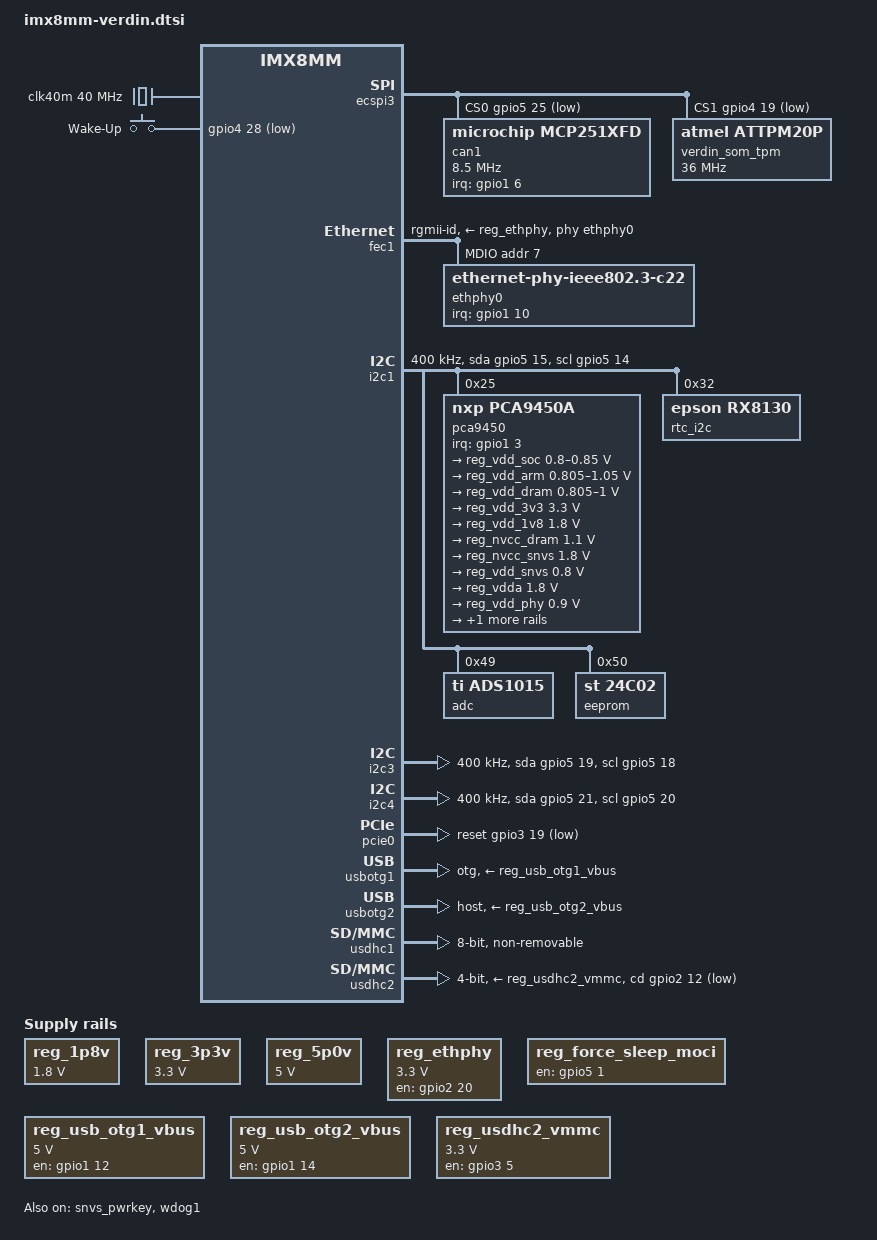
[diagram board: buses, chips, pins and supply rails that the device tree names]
// SPDX-License-Identifier: GPL-2.0-or-later OR MIT
/*
 * Copyright 2022 Toradex
 */

#include <dt-bindings/phy/phy-imx8-pcie.h>
#include <dt-bindings/pwm/pwm.h>
#include "imx8mm.dtsi"
#include "imx8mm-overdrive.dtsi"

/ {
	chosen {
		stdout-path = &uart1;
	};

	aliases {
		rtc0 = &rtc_i2c;
		rtc1 = &snvs_rtc;
	};

	backlight: backlight {
		compatible = "pwm-backlight";
		brightness-levels = <0 45 63 88 119 158 203 255>;
		default-brightness-level = <4>;
		/* Verdin I2S_2_D_OUT (DSI_1_BKL_EN/DSI_1_BKL_EN_LVDS, SODIMM 46) */
		enable-gpios = <&gpio3 24 GPIO_ACTIVE_HIGH>;
		pinctrl-names = "default";
		pinctrl-0 = <&pinctrl_i2s_2_d_out_dsi_1_bkl_en>;
		power-supply = <&reg_3p3v>;
		/* Verdin PWM_3_DSI/PWM_3_DSI_LVDS (SODIMM 19) */
		pwms = <&pwm1 0 6666667 PWM_POLARITY_INVERTED>;
		status = "disabled";
	};

	/* Fixed clock dedicated to SPI CAN controller */
	clk40m: oscillator {
		compatible = "fixed-clock";
		#clock-cells = <0>;
		clock-frequency = <40000000>;
	};

	gpio-keys {
		compatible = "gpio-keys";
		pinctrl-names = "default";
		pinctrl-0 = <&pinctrl_gpio_keys>;

		key-wakeup {
			debounce-interval = <10>;
			/* Verdin CTRL_WAKE1_MICO# (SODIMM 252) */
			gpios = <&gpio4 28 GPIO_ACTIVE_LOW>;
			label = "Wake-Up";
			linux,code = <KEY_WAKEUP>;
			wakeup-source;
		};
	};

	hdmi_connector: hdmi-connector {
		compatible = "hdmi-connector";
		ddc-i2c-bus = <&i2c2>;
		/* Verdin PWM_3_DSI (SODIMM 19) */
		hpd-gpios = <&gpio1 1 GPIO_ACTIVE_HIGH>;
		label = "hdmi";
		pinctrl-names = "default";
		pinctrl-0 = <&pinctrl_pwm_3_dsi_hpd_gpio>;
		type = "a";
		status = "disabled";
	};

	panel_lvds: panel-lvds {
		compatible = "panel-lvds";
		backlight = <&backlight>;
		data-mapping = "vesa-24";
		status = "disabled";
	};

	/* Carrier Board Supplies */
	reg_1p8v: regulator-1p8v {
		compatible = "regulator-fixed";
		regulator-max-microvolt = <1800000>;
		regulator-min-microvolt = <1800000>;
		regulator-name = "+V1.8_SW";
	};

	reg_3p3v: regulator-3p3v {
		compatible = "regulator-fixed";
		regulator-max-microvolt = <3300000>;
		regulator-min-microvolt = <3300000>;
		regulator-name = "+V3.3_SW";
	};

	reg_5p0v: regulator-5p0v {
		compatible = "regulator-fixed";
		regulator-max-microvolt = <5000000>;
		regulator-min-microvolt = <5000000>;
		regulator-name = "+V5_SW";
	};

	/* Non PMIC On-module Supplies */
	reg_ethphy: regulator-ethphy {
		compatible = "regulator-fixed";
		enable-active-high;
		gpio = <&gpio2 20 GPIO_ACTIVE_HIGH>; /* PMIC_EN_ETH */
		off-on-delay-us = <500000>;
		pinctrl-names = "default";
		pinctrl-0 = <&pinctrl_reg_eth>;
		regulator-always-on;
		regulator-boot-on;
		regulator-max-microvolt = <3300000>;
		regulator-min-microvolt = <3300000>;
		regulator-name = "On-module +V3.3_ETH";
		startup-delay-us = <200000>;
	};

	/*
	 * By default we enable CTRL_SLEEP_MOCI#, this is required to have
	 * peripherals on the carrier board powered.
	 * If more granularity or power saving is required this can be disabled
	 * in the carrier board device tree files.
	 */
	reg_force_sleep_moci: regulator-force-sleep-moci {
		compatible = "regulator-fixed";
		enable-active-high;
		/* Verdin CTRL_SLEEP_MOCI# (SODIMM 256) */
		gpio = <&gpio5 1 GPIO_ACTIVE_HIGH>;
		regulator-always-on;
		regulator-boot-on;
		regulator-name = "CTRL_SLEEP_MOCI#";
	};

	reg_usb_otg1_vbus: regulator-usb-otg1 {
		compatible = "regulator-fixed";
		enable-active-high;
		/* Verdin USB_1_EN (SODIMM 155) */
		gpio = <&gpio1 12 GPIO_ACTIVE_HIGH>;
		pinctrl-names = "default";
		pinctrl-0 = <&pinctrl_reg_usb1_en>;
		regulator-max-microvolt = <5000000>;
		regulator-min-microvolt = <5000000>;
		regulator-name = "USB_1_EN";
	};

	reg_usb_otg2_vbus: regulator-usb-otg2 {
		compatible = "regulator-fixed";
		enable-active-high;
		/* Verdin USB_2_EN (SODIMM 185) */
		gpio = <&gpio1 14 GPIO_ACTIVE_HIGH>;
		pinctrl-names = "default";
		pinctrl-0 = <&pinctrl_reg_usb2_en>;
		regulator-max-microvolt = <5000000>;
		regulator-min-microvolt = <5000000>;
		regulator-name = "USB_2_EN";
	};

	reg_usdhc2_vmmc: regulator-usdhc2 {
		compatible = "regulator-fixed";
		enable-active-high;
		/* Verdin SD_1_PWR_EN (SODIMM 76) */
		gpio = <&gpio3 5 GPIO_ACTIVE_HIGH>;
		off-on-delay-us = <100000>;
		pinctrl-names = "default";
		pinctrl-0 = <&pinctrl_usdhc2_pwr_en>;
		regulator-max-microvolt = <3300000>;
		regulator-min-microvolt = <3300000>;
		regulator-name = "+V3.3_SD";
		startup-delay-us = <20000>;
	};

	reserved-memory {
		#address-cells = <2>;
		#size-cells = <2>;
		ranges;

		/* Use the kernel configuration settings instead */
		/delete-node/ linux,cma;
	};
};

&A53_0 {
	cpu-supply = <&reg_vdd_arm>;
};

&A53_1 {
	cpu-supply = <&reg_vdd_arm>;
};

&A53_2 {
	cpu-supply = <&reg_vdd_arm>;
};

&A53_3 {
	cpu-supply = <&reg_vdd_arm>;
};

&cpu_alert0 {
	temperature = <95000>;
};

&cpu_crit0 {
	temperature = <105000>;
};

&ddrc {
	operating-points-v2 = <&ddrc_opp_table>;

	ddrc_opp_table: opp-table {
		compatible = "operating-points-v2";

		opp-25000000 {
			opp-hz = /bits/ 64 <25000000>;
		};

		opp-100000000 {
			opp-hz = /bits/ 64 <100000000>;
		};

		opp-750000000 {
			opp-hz = /bits/ 64 <750000000>;
		};
	};
};

/* Verdin SPI_1 */
&ecspi2 {
	#address-cells = <1>;
	#size-cells = <0>;
	cs-gpios = <&gpio5 13 GPIO_ACTIVE_LOW>;
	pinctrl-names = "default";
	pinctrl-0 = <&pinctrl_ecspi2>;
};

/* On-module SPI */
&ecspi3 {
	#address-cells = <1>;
	#size-cells = <0>;
	cs-gpios = <&gpio5 25 GPIO_ACTIVE_LOW>, <&gpio4 19 GPIO_ACTIVE_LOW>;
	pinctrl-names = "default";
	pinctrl-0 = <&pinctrl_ecspi3>, <&pinctrl_tpm_spi_cs>;
	status = "okay";

	/* Verdin CAN_1 */
	can1: can@0 {
		compatible = "microchip,mcp251xfd";
		clocks = <&clk40m>;
		interrupts-extended = <&gpio1 6 IRQ_TYPE_LEVEL_LOW>;
		pinctrl-names = "default";
		pinctrl-0 = <&pinctrl_can1_int>;
		reg = <0>;
		spi-max-frequency = <8500000>;
	};

	verdin_som_tpm: tpm@1 {
		compatible = "atmel,attpm20p", "tcg,tpm_tis-spi";
		reg = <0x1>;
		spi-max-frequency = <36000000>;
	};
};

/* Verdin ETH_1 (On-module PHY) */
&fec1 {
	fsl,magic-packet;
	phy-handle = <&ethphy0>;
	phy-mode = "rgmii-id";
	phy-supply = <&reg_ethphy>;
	pinctrl-names = "default", "sleep";
	pinctrl-0 = <&pinctrl_fec1>;
	pinctrl-1 = <&pinctrl_fec1_sleep>;

	mdio {
		#address-cells = <1>;
		#size-cells = <0>;

		ethphy0: ethernet-phy@7 {
			compatible = "ethernet-phy-ieee802.3-c22";
			interrupt-parent = <&gpio1>;
			interrupts = <10 IRQ_TYPE_LEVEL_LOW>;
			micrel,led-mode = <0>;
			reg = <7>;
		};
	};
};

/* Verdin QSPI_1 */
&flexspi {
	pinctrl-names = "default";
	pinctrl-0 = <&pinctrl_flexspi0>;
};

&gpio1 {
	gpio-line-names = "SODIMM_216",
			  "SODIMM_19",
			  "",
			  "",
			  "",
			  "",
			  "",
			  "",
			  "SODIMM_220",
			  "SODIMM_222",
			  "",
			  "SODIMM_218",
			  "SODIMM_155",
			  "SODIMM_157",
			  "SODIMM_185",
			  "SODIMM_187";
};

&gpio2 {
	gpio-line-names = "",
			  "",
			  "",
			  "",
			  "",
			  "",
			  "",
			  "",
			  "",
			  "",
			  "",
			  "",
			  "SODIMM_84",
			  "SODIMM_78",
			  "SODIMM_74",
			  "SODIMM_80",
			  "SODIMM_82",
			  "SODIMM_70",
			  "SODIMM_72";
};

&gpio5 {
	gpio-line-names = "SODIMM_131",
			  "",
			  "SODIMM_91",
			  "SODIMM_16",
			  "SODIMM_15",
			  "SODIMM_208",
			  "SODIMM_137",
			  "SODIMM_139",
			  "SODIMM_141",
			  "SODIMM_143",
			  "SODIMM_196",
			  "SODIMM_200",
			  "SODIMM_198",
			  "SODIMM_202",
			  "",
			  "",
			  "SODIMM_55",
			  "SODIMM_53",
			  "SODIMM_95",
			  "SODIMM_93",
			  "SODIMM_14",
			  "SODIMM_12",
			  "",
			  "",
			  "",
			  "",
			  "SODIMM_210",
			  "SODIMM_212",
			  "SODIMM_151",
			  "SODIMM_153";
};

/* On-module I2C */
&i2c1 {
	clock-frequency = <400000>;
	pinctrl-names = "default", "gpio";
	pinctrl-0 = <&pinctrl_i2c1>;
	pinctrl-1 = <&pinctrl_i2c1_gpio>;
	scl-gpios = <&gpio5 14 (GPIO_ACTIVE_HIGH | GPIO_OPEN_DRAIN)>;
	sda-gpios = <&gpio5 15 (GPIO_ACTIVE_HIGH | GPIO_OPEN_DRAIN)>;
	status = "okay";

	pca9450: pmic@25 {
		compatible = "nxp,pca9450a";
		interrupt-parent = <&gpio1>;
		/* PMIC PCA9450 PMIC_nINT GPIO1_IO3 */
		interrupts = <3 IRQ_TYPE_LEVEL_LOW>;
		pinctrl-names = "default";
		pinctrl-0 = <&pinctrl_pmic>;
		reg = <0x25>;

		/*
		 * The bootloader is expected to switch on the I2C level shifter for the TLA2024 ADC
		 * behind this PMIC.
		 */

		regulators {
			reg_vdd_soc: BUCK1 {
				nxp,dvs-run-voltage = <850000>;
				nxp,dvs-standby-voltage = <800000>;
				regulator-always-on;
				regulator-boot-on;
				regulator-max-microvolt = <850000>;
				regulator-min-microvolt = <800000>;
				regulator-name = "On-module +VDD_SOC (BUCK1)";
				regulator-ramp-delay = <3125>;
			};

			reg_vdd_arm: BUCK2 {
				nxp,dvs-run-voltage = <950000>;
				nxp,dvs-standby-voltage = <850000>;
				regulator-always-on;
				regulator-boot-on;
				regulator-max-microvolt = <1050000>;
				regulator-min-microvolt = <805000>;
				regulator-name = "On-module +VDD_ARM (BUCK2)";
				regulator-ramp-delay = <3125>;
			};

			reg_vdd_dram: BUCK3 {
				regulator-always-on;
				regulator-boot-on;
				regulator-max-microvolt = <1000000>;
				regulator-min-microvolt = <805000>;
				regulator-name = "On-module +VDD_GPU_VPU_DDR (BUCK3)";
			};

			reg_vdd_3v3: BUCK4 {
				regulator-always-on;
				regulator-boot-on;
				regulator-max-microvolt = <3300000>;
				regulator-min-microvolt = <3300000>;
				regulator-name = "On-module +V3.3 (BUCK4)";
			};

			reg_vdd_1v8: BUCK5 {
				regulator-always-on;
				regulator-boot-on;
				regulator-max-microvolt = <1800000>;
				regulator-min-microvolt = <1800000>;
				regulator-name = "PWR_1V8_MOCI (BUCK5)";
			};

			reg_nvcc_dram: BUCK6 {
				regulator-always-on;
				regulator-boot-on;
				regulator-max-microvolt = <1100000>;
				regulator-min-microvolt = <1100000>;
				regulator-name = "On-module +VDD_DDR (BUCK6)";
			};

			reg_nvcc_snvs: LDO1 {
				regulator-always-on;
				regulator-boot-on;
				regulator-max-microvolt = <1800000>;
				regulator-min-microvolt = <1800000>;
				regulator-name = "On-module +V1.8_SNVS (LDO1)";
			};

			reg_vdd_snvs: LDO2 {
				regulator-always-on;
				regulator-boot-on;
				regulator-max-microvolt = <800000>;
				regulator-min-microvolt = <800000>;
				regulator-name = "On-module +V0.8_SNVS (LDO2)";
			};

			reg_vdda: LDO3 {
				regulator-always-on;
				regulator-boot-on;
				regulator-max-microvolt = <1800000>;
				regulator-min-microvolt = <1800000>;
				regulator-name = "On-module +V1.8A (LDO3)";
			};

			reg_vdd_phy: LDO4 {
				regulator-always-on;
				regulator-boot-on;
				regulator-max-microvolt = <900000>;
				regulator-min-microvolt = <900000>;
				regulator-name = "On-module +V0.9_MIPI (LDO4)";
			};

			reg_nvcc_sd: LDO5 {
				regulator-max-microvolt = <3300000>;
				regulator-min-microvolt = <1800000>;
				regulator-name = "On-module +V3.3_1.8_SD (LDO5)";
			};
		};
	};

	rtc_i2c: rtc@32 {
		compatible = "epson,rx8130";
		reg = <0x32>;
	};

	adc@49 {
		compatible = "ti,ads1015";
		reg = <0x49>;
		#address-cells = <1>;
		#size-cells = <0>;

		/* Verdin I2C_1 (ADC_4 - ADC_3) */
		channel@0 {
			reg = <0>;
			ti,datarate = <4>;
			ti,gain = <2>;
		};

		/* Verdin I2C_1 (ADC_4 - ADC_1) */
		channel@1 {
			reg = <1>;
			ti,datarate = <4>;
			ti,gain = <2>;
		};

		/* Verdin I2C_1 (ADC_3 - ADC_1) */
		channel@2 {
			reg = <2>;
			ti,datarate = <4>;
			ti,gain = <2>;
		};

		/* Verdin I2C_1 (ADC_2 - ADC_1) */
		channel@3 {
			reg = <3>;
			ti,datarate = <4>;
			ti,gain = <2>;
		};

		/* Verdin I2C_1 ADC_4 */
		channel@4 {
			reg = <4>;
			ti,datarate = <4>;
			ti,gain = <2>;
		};

		/* Verdin I2C_1 ADC_3 */
		channel@5 {
			reg = <5>;
			ti,datarate = <4>;
			ti,gain = <2>;
		};

		/* Verdin I2C_1 ADC_2 */
		channel@6 {
			reg = <6>;
			ti,datarate = <4>;
			ti,gain = <2>;
		};

		/* Verdin I2C_1 ADC_1 */
		channel@7 {
			reg = <7>;
			ti,datarate = <4>;
			ti,gain = <2>;
		};
	};

	eeprom@50 {
		compatible = "st,24c02";
		pagesize = <16>;
		reg = <0x50>;
	};
};

/* Verdin I2C_2_DSI */
&i2c2 {
	clock-frequency = <400000>;
	pinctrl-names = "default", "gpio";
	pinctrl-0 = <&pinctrl_i2c2>;
	pinctrl-1 = <&pinctrl_i2c2_gpio>;
	scl-gpios = <&gpio5 16 (GPIO_ACTIVE_HIGH | GPIO_OPEN_DRAIN)>;
	sda-gpios = <&gpio5 17 (GPIO_ACTIVE_HIGH | GPIO_OPEN_DRAIN)>;
	status = "disabled";
};

/* Verdin I2C_3_HDMI N/A */

/* Verdin I2C_4_CSI */
&i2c3 {
	clock-frequency = <400000>;
	pinctrl-names = "default", "gpio";
	pinctrl-0 = <&pinctrl_i2c3>;
	pinctrl-1 = <&pinctrl_i2c3_gpio>;
	scl-gpios = <&gpio5 18 (GPIO_ACTIVE_HIGH | GPIO_OPEN_DRAIN)>;
	sda-gpios = <&gpio5 19 (GPIO_ACTIVE_HIGH | GPIO_OPEN_DRAIN)>;
};

/* Verdin I2C_1 */
&i2c4 {
	clock-frequency = <400000>;
	pinctrl-names = "default", "gpio";
	pinctrl-0 = <&pinctrl_i2c4>;
	pinctrl-1 = <&pinctrl_i2c4_gpio>;
	scl-gpios = <&gpio5 20 (GPIO_ACTIVE_HIGH | GPIO_OPEN_DRAIN)>;
	sda-gpios = <&gpio5 21 (GPIO_ACTIVE_HIGH | GPIO_OPEN_DRAIN)>;

	gpio_expander_21: gpio-expander@21 {
		compatible = "nxp,pcal6416";
		#gpio-cells = <2>;
		gpio-controller;
		reg = <0x21>;
		vcc-supply = <&reg_3p3v>;
		status = "disabled";
	};

	lvds_ti_sn65dsi84: bridge@2c {
		compatible = "ti,sn65dsi84";
		/* Verdin GPIO_9_DSI (SN65DSI84 IRQ, SODIMM 17, unused) */
		/* Verdin GPIO_10_DSI (SODIMM 21) */
		enable-gpios = <&gpio3 3 GPIO_ACTIVE_HIGH>;
		pinctrl-names = "default";
		pinctrl-0 = <&pinctrl_gpio_10_dsi>;
		reg = <0x2c>;
		status = "disabled";
	};

	/* Current measurement into module VCC */
	hwmon: hwmon@40 {
		compatible = "ti,ina219";
		reg = <0x40>;
		shunt-resistor = <10000>;
		status = "disabled";
	};

	hdmi_lontium_lt8912: hdmi@48 {
		compatible = "lontium,lt8912b";
		pinctrl-names = "default";
		pinctrl-0 = <&pinctrl_gpio_10_dsi>;
		reg = <0x48>;
		/* Verdin GPIO_9_DSI (LT8912 INT, SODIMM 17, unused) */
		/* Verdin GPIO_10_DSI (SODIMM 21) */
		reset-gpios = <&gpio3 3 GPIO_ACTIVE_LOW>;
		status = "disabled";
	};

	atmel_mxt_ts: touch@4a {
		compatible = "atmel,maxtouch";
		/*
		 * Verdin GPIO_9_DSI
		 * (TOUCH_INT#, SODIMM 17, also routed to SN65DSI84 IRQ albeit currently unused)
		 */
		interrupt-parent = <&gpio3>;
		interrupts = <15 IRQ_TYPE_EDGE_FALLING>;
		pinctrl-names = "default";
		pinctrl-0 = <&pinctrl_gpio_9_dsi>, <&pinctrl_i2s_2_bclk_touch_reset>;
		reg = <0x4a>;
		/* Verdin I2S_2_BCLK (TOUCH_RESET#, SODIMM 42) */
		reset-gpios = <&gpio3 23 GPIO_ACTIVE_LOW>;
		status = "disabled";
	};

	/* Temperature sensor on carrier board */
	hwmon_temp: sensor@4f {
		compatible = "ti,tmp75c";
		reg = <0x4f>;
		status = "disabled";
	};

	/* EEPROM on display adapter (MIPI DSI Display Adapter) */
	eeprom_display_adapter: eeprom@50 {
		compatible = "st,24c02";
		pagesize = <16>;
		reg = <0x50>;
		status = "disabled";
	};

	/* EEPROM on carrier board */
	eeprom_carrier_board: eeprom@57 {
		compatible = "st,24c02";
		pagesize = <16>;
		reg = <0x57>;
		status = "disabled";
	};
};

/* Verdin PCIE_1 */
&pcie0 {
	assigned-clocks = <&clk IMX8MM_CLK_PCIE1_AUX>,
			  <&clk IMX8MM_CLK_PCIE1_CTRL>;
	assigned-clock-parents = <&clk IMX8MM_SYS_PLL2_50M>,
				 <&clk IMX8MM_SYS_PLL2_250M>;
	assigned-clock-rates = <10000000>, <250000000>;
	pinctrl-names = "default";
	pinctrl-0 = <&pinctrl_pcie0>;
	/* PCIE_1_RESET# (SODIMM 244) */
	reset-gpio = <&gpio3 19 GPIO_ACTIVE_LOW>;
};

&pcie_phy {
	clocks = <&clk IMX8MM_CLK_PCIE1_PHY>;
	clock-names = "ref";
	fsl,clkreq-unsupported;
	fsl,refclk-pad-mode = <IMX8_PCIE_REFCLK_PAD_OUTPUT>;
	fsl,tx-deemph-gen1 = <0x2d>;
	fsl,tx-deemph-gen2 = <0xf>;
};

/* Verdin PWM_3_DSI */
&pwm1 {
	pinctrl-names = "default";
	pinctrl-0 = <&pinctrl_pwm_1>;
	#pwm-cells = <3>;
};

/* Verdin PWM_1 */
&pwm2 {
	pinctrl-names = "default";
	pinctrl-0 = <&pinctrl_pwm_2>;
	#pwm-cells = <3>;
};

/* Verdin PWM_2 */
&pwm3 {
	pinctrl-names = "default";
	pinctrl-0 = <&pinctrl_pwm_3>;
	#pwm-cells = <3>;
};

/* Verdin I2S_1 */
&sai2 {
	#sound-dai-cells = <0>;
	assigned-clock-parents = <&clk IMX8MM_AUDIO_PLL1_OUT>;
	assigned-clock-rates = <24576000>;
	assigned-clocks = <&clk IMX8MM_CLK_SAI2>;
	pinctrl-names = "default";
	pinctrl-0 = <&pinctrl_sai2>;
};

&snvs_pwrkey {
	status = "okay";
};

/* Verdin UART_3, used as the Linux console */
&uart1 {
	pinctrl-names = "default";
	pinctrl-0 = <&pinctrl_uart1>;
};

/* Verdin UART_1 */
&uart2 {
	pinctrl-names = "default";
	pinctrl-0 = <&pinctrl_uart2>;
	uart-has-rtscts;
};

/* Verdin UART_2 */
&uart3 {
	pinctrl-names = "default";
	pinctrl-0 = <&pinctrl_uart3>;
	uart-has-rtscts;
};

/*
 * Verdin UART_4
 * Resource allocated to M4 by default, must not be accessed from Cortex-A35 or you get an OOPS
 */
&uart4 {
	pinctrl-names = "default";
	pinctrl-0 = <&pinctrl_uart4>;
};

/* Verdin USB_1 */
&usbotg1 {
	adp-disable;
	dr_mode = "otg";
	hnp-disable;
	samsung,picophy-dc-vol-level-adjust = <7>;
	samsung,picophy-pre-emp-curr-control = <3>;
	srp-disable;
	vbus-supply = <&reg_usb_otg1_vbus>;
};

/* Verdin USB_2 */
&usbotg2 {
	dr_mode = "host";
	samsung,picophy-dc-vol-level-adjust = <7>;
	samsung,picophy-pre-emp-curr-control = <3>;
	vbus-supply = <&reg_usb_otg2_vbus>;
};

&usbphynop1 {
	vcc-supply = <&reg_vdd_3v3>;
};

&usbphynop2 {
	power-domains = <&pgc_otg2>;
	vcc-supply = <&reg_vdd_3v3>;
};

/* On-module eMMC */
&usdhc1 {
	bus-width = <8>;
	keep-power-in-suspend;
	non-removable;
	pinctrl-names = "default", "state_100mhz", "state_200mhz";
	pinctrl-0 = <&pinctrl_usdhc1>;
	pinctrl-1 = <&pinctrl_usdhc1_100mhz>;
	pinctrl-2 = <&pinctrl_usdhc1_200mhz>;
	status = "okay";
};

/* Verdin SD_1 */
&usdhc2 {
	bus-width = <4>;
	cd-gpios = <&gpio2 12 GPIO_ACTIVE_LOW>;
	disable-wp;
	pinctrl-names = "default", "state_100mhz", "state_200mhz", "sleep";
	pinctrl-0 = <&pinctrl_usdhc2>, <&pinctrl_usdhc2_cd>;
	pinctrl-1 = <&pinctrl_usdhc2_100mhz>, <&pinctrl_usdhc2_cd>;
	pinctrl-2 = <&pinctrl_usdhc2_200mhz>, <&pinctrl_usdhc2_cd>;
	pinctrl-3 = <&pinctrl_usdhc2_sleep>, <&pinctrl_usdhc2_cd_sleep>;
	vmmc-supply = <&reg_usdhc2_vmmc>;
};

&wdog1 {
	fsl,ext-reset-output;
	pinctrl-names = "default";
	pinctrl-0 = <&pinctrl_wdog>;
	status = "okay";
};

&iomuxc {
	pinctrl-names = "default";
	pinctrl-0 = <&pinctrl_gpio1>, <&pinctrl_gpio2>,
		    <&pinctrl_gpio3>, <&pinctrl_gpio4>,
		    <&pinctrl_gpio7>, <&pinctrl_gpio8>,
		    <&pinctrl_gpio_hog1>, <&pinctrl_gpio_hog2>, <&pinctrl_gpio_hog3>;

	pinctrl_can1_int: can1intgrp {
		fsl,pins =
			<MX8MM_IOMUXC_GPIO1_IO06_GPIO1_IO6		0x146>;	/* CAN_1_SPI_INT#_1.8V */
	};

	pinctrl_can2_int: can2intgrp {
		fsl,pins =
			<MX8MM_IOMUXC_GPIO1_IO07_GPIO1_IO7		0x106>;	/* CAN_2_SPI_INT#_1.8V, unused */
	};

	pinctrl_ctrl_sleep_moci: ctrlsleepmocigrp {
		fsl,pins =
			<MX8MM_IOMUXC_SAI3_TXD_GPIO5_IO1		0x106>;	/* SODIMM 256 */
	};

	pinctrl_ecspi2: ecspi2grp {
		fsl,pins =
			<MX8MM_IOMUXC_ECSPI2_MISO_ECSPI2_MISO		0x6>,	/* SODIMM 198 */
			<MX8MM_IOMUXC_ECSPI2_MOSI_ECSPI2_MOSI		0x6>,	/* SODIMM 200 */
			<MX8MM_IOMUXC_ECSPI2_SCLK_ECSPI2_SCLK		0x6>,	/* SODIMM 196 */
			<MX8MM_IOMUXC_ECSPI2_SS0_GPIO5_IO13		0x6>;	/* SODIMM 202 */
	};

	pinctrl_ecspi3: ecspi3grp {
		fsl,pins =
			<MX8MM_IOMUXC_GPIO1_IO05_GPIO1_IO5		0x146>,	/* CAN_2_SPI_CS#_1.8V */
			<MX8MM_IOMUXC_UART1_RXD_ECSPI3_SCLK		0x6>,	/* CAN_SPI_SCK_1.8V */
			<MX8MM_IOMUXC_UART1_TXD_ECSPI3_MOSI		0x6>,	/* CAN_SPI_MOSI_1.8V */
			<MX8MM_IOMUXC_UART2_RXD_ECSPI3_MISO		0x6>,	/* CAN_SPI_MISO_1.8V */
			<MX8MM_IOMUXC_UART2_TXD_GPIO5_IO25		0x6>;	/* CAN_1_SPI_CS_1.8V# */
	};

	pinctrl_fec1: fec1grp {
		fsl,pins =
			<MX8MM_IOMUXC_ENET_MDC_ENET1_MDC		0x3>,
			<MX8MM_IOMUXC_ENET_MDIO_ENET1_MDIO		0x3>,
			<MX8MM_IOMUXC_ENET_RD0_ENET1_RGMII_RD0		0x91>,
			<MX8MM_IOMUXC_ENET_RD1_ENET1_RGMII_RD1		0x91>,
			<MX8MM_IOMUXC_ENET_RD2_ENET1_RGMII_RD2		0x91>,
			<MX8MM_IOMUXC_ENET_RD3_ENET1_RGMII_RD3		0x91>,
			<MX8MM_IOMUXC_ENET_RXC_ENET1_RGMII_RXC		0x91>,
			<MX8MM_IOMUXC_ENET_RX_CTL_ENET1_RGMII_RX_CTL	0x91>,
			<MX8MM_IOMUXC_ENET_TD0_ENET1_RGMII_TD0		0x1f>,
			<MX8MM_IOMUXC_ENET_TD1_ENET1_RGMII_TD1		0x1f>,
			<MX8MM_IOMUXC_ENET_TD2_ENET1_RGMII_TD2		0x1f>,
			<MX8MM_IOMUXC_ENET_TD3_ENET1_RGMII_TD3		0x1f>,
			<MX8MM_IOMUXC_ENET_TXC_ENET1_RGMII_TXC		0x1f>,
			<MX8MM_IOMUXC_ENET_TX_CTL_ENET1_RGMII_TX_CTL	0x1f>,
			<MX8MM_IOMUXC_GPIO1_IO10_GPIO1_IO10		0x146>;
	};

	pinctrl_fec1_sleep: fec1-sleepgrp {
		fsl,pins =
			<MX8MM_IOMUXC_ENET_MDC_ENET1_MDC		0x3>,
			<MX8MM_IOMUXC_ENET_MDIO_ENET1_MDIO		0x3>,
			<MX8MM_IOMUXC_ENET_RD0_ENET1_RGMII_RD0		0x91>,
			<MX8MM_IOMUXC_ENET_RD1_ENET1_RGMII_RD1		0x91>,
			<MX8MM_IOMUXC_ENET_RD2_ENET1_RGMII_RD2		0x91>,
			<MX8MM_IOMUXC_ENET_RD3_ENET1_RGMII_RD3		0x91>,
			<MX8MM_IOMUXC_ENET_RXC_ENET1_RGMII_RXC		0x91>,
			<MX8MM_IOMUXC_ENET_RX_CTL_ENET1_RGMII_RX_CTL	0x91>,
			<MX8MM_IOMUXC_ENET_TD0_GPIO1_IO21		0x1f>,
			<MX8MM_IOMUXC_ENET_TD1_GPIO1_IO20		0x1f>,
			<MX8MM_IOMUXC_ENET_TD2_GPIO1_IO19		0x1f>,
			<MX8MM_IOMUXC_ENET_TD3_GPIO1_IO18		0x1f>,
			<MX8MM_IOMUXC_ENET_TXC_GPIO1_IO23		0x1f>,
			<MX8MM_IOMUXC_ENET_TX_CTL_GPIO1_IO22		0x1f>,
			<MX8MM_IOMUXC_GPIO1_IO10_GPIO1_IO10		0x106>;
	};

	pinctrl_flexspi0: flexspi0grp {
		fsl,pins =
			<MX8MM_IOMUXC_NAND_ALE_QSPI_A_SCLK		0x106>,	/* SODIMM 52 */
			<MX8MM_IOMUXC_NAND_CE0_B_QSPI_A_SS0_B		0x106>,	/* SODIMM 54 */
			<MX8MM_IOMUXC_NAND_CE1_B_QSPI_A_SS1_B		0x106>,	/* SODIMM 64 */
			<MX8MM_IOMUXC_NAND_DATA00_QSPI_A_DATA0		0x106>,	/* SODIMM 56 */
			<MX8MM_IOMUXC_NAND_DATA01_QSPI_A_DATA1		0x106>,	/* SODIMM 58 */
			<MX8MM_IOMUXC_NAND_DATA02_QSPI_A_DATA2		0x106>,	/* SODIMM 60 */
			<MX8MM_IOMUXC_NAND_DATA03_QSPI_A_DATA3		0x106>,	/* SODIMM 62 */
			<MX8MM_IOMUXC_NAND_DQS_QSPI_A_DQS		0x106>;	/* SODIMM 66 */
	};

	pinctrl_gpio1: gpio1grp {
		fsl,pins =
			<MX8MM_IOMUXC_NAND_CE3_B_GPIO3_IO4		0x106>;	/* SODIMM 206 */
	};

	pinctrl_gpio2: gpio2grp {
		fsl,pins =
			<MX8MM_IOMUXC_SPDIF_EXT_CLK_GPIO5_IO5		0x106>;	/* SODIMM 208 */
	};

	pinctrl_gpio3: gpio3grp {
		fsl,pins =
			<MX8MM_IOMUXC_UART3_RXD_GPIO5_IO26		0x106>;	/* SODIMM 210 */
	};

	pinctrl_gpio4: gpio4grp {
		fsl,pins =
			<MX8MM_IOMUXC_UART3_TXD_GPIO5_IO27		0x106>;	/* SODIMM 212 */
	};

	pinctrl_gpio5: gpio5grp {
		fsl,pins =
			<MX8MM_IOMUXC_GPIO1_IO00_GPIO1_IO0		0x106>;	/* SODIMM 216 */
	};

	pinctrl_gpio6: gpio6grp {
		fsl,pins =
			<MX8MM_IOMUXC_GPIO1_IO11_GPIO1_IO11		0x106>;	/* SODIMM 218 */
	};

	pinctrl_gpio7: gpio7grp {
		fsl,pins =
			<MX8MM_IOMUXC_GPIO1_IO08_GPIO1_IO8		0x106>;	/* SODIMM 220 */
	};

	pinctrl_gpio8: gpio8grp {
		fsl,pins =
			<MX8MM_IOMUXC_GPIO1_IO09_GPIO1_IO9		0x106>;	/* SODIMM 222 */
	};

	/* Verdin GPIO_9_DSI (pulled-up as active-low) */
	pinctrl_gpio_9_dsi: gpio9dsigrp {
		fsl,pins =
			<MX8MM_IOMUXC_NAND_RE_B_GPIO3_IO15		0x1c6>;	/* SODIMM 17 */
	};

	/* Verdin GPIO_10_DSI (pulled-up as active-low) */
	pinctrl_gpio_10_dsi: gpio10dsigrp {
		fsl,pins =
			<MX8MM_IOMUXC_NAND_CE2_B_GPIO3_IO3		0x146>;	/* SODIMM 21 */
	};

	pinctrl_gpio_hog1: gpiohog1grp {
		fsl,pins =
			<MX8MM_IOMUXC_SAI1_MCLK_GPIO4_IO20		0x106>,	/* SODIMM 88 */
			<MX8MM_IOMUXC_SAI1_RXC_GPIO4_IO1		0x106>,	/* SODIMM 90 */
			<MX8MM_IOMUXC_SAI1_RXD0_GPIO4_IO2		0x106>,	/* SODIMM 92 */
			<MX8MM_IOMUXC_SAI1_RXD1_GPIO4_IO3		0x106>,	/* SODIMM 94 */
			<MX8MM_IOMUXC_SAI1_RXD2_GPIO4_IO4		0x106>,	/* SODIMM 96 */
			<MX8MM_IOMUXC_SAI1_RXD3_GPIO4_IO5		0x106>,	/* SODIMM 100 */
			<MX8MM_IOMUXC_SAI1_RXFS_GPIO4_IO0		0x106>,	/* SODIMM 102 */
			<MX8MM_IOMUXC_SAI1_TXC_GPIO4_IO11		0x106>,	/* SODIMM 104 */
			<MX8MM_IOMUXC_SAI1_TXD0_GPIO4_IO12		0x106>,	/* SODIMM 106 */
			<MX8MM_IOMUXC_SAI1_TXD1_GPIO4_IO13		0x106>,	/* SODIMM 108 */
			<MX8MM_IOMUXC_SAI1_TXD2_GPIO4_IO14		0x106>,	/* SODIMM 112 */
			<MX8MM_IOMUXC_SAI1_TXD3_GPIO4_IO15		0x106>,	/* SODIMM 114 */
			<MX8MM_IOMUXC_SAI1_TXD4_GPIO4_IO16		0x106>,	/* SODIMM 116 */
			<MX8MM_IOMUXC_SAI1_TXD6_GPIO4_IO18		0x106>,	/* SODIMM 118 */
			<MX8MM_IOMUXC_SAI1_TXFS_GPIO4_IO10		0x106>;	/* SODIMM 120 */
	};

	pinctrl_gpio_hog2: gpiohog2grp {
		fsl,pins =
			<MX8MM_IOMUXC_SAI3_MCLK_GPIO5_IO2		0x106>;	/* SODIMM 91 */
	};

	pinctrl_gpio_hog3: gpiohog3grp {
		fsl,pins =
			<MX8MM_IOMUXC_GPIO1_IO13_GPIO1_IO13		0x146>,	/* SODIMM 157 */
			<MX8MM_IOMUXC_GPIO1_IO15_GPIO1_IO15		0x146>;	/* SODIMM 187 */
	};

	pinctrl_gpio_keys: gpiokeysgrp {
		fsl,pins =
			<MX8MM_IOMUXC_SAI3_RXFS_GPIO4_IO28		0x146>;	/* SODIMM 252 */
	};

	/* On-module I2C */
	pinctrl_i2c1: i2c1grp {
		fsl,pins =
			<MX8MM_IOMUXC_I2C1_SCL_I2C1_SCL			0x40000146>,	/* PMIC_I2C_SCL */
			<MX8MM_IOMUXC_I2C1_SDA_I2C1_SDA			0x40000146>;	/* PMIC_I2C_SDA */
	};

	pinctrl_i2c1_gpio: i2c1gpiogrp {
		fsl,pins =
			<MX8MM_IOMUXC_I2C1_SCL_GPIO5_IO14		0x146>,	/* PMIC_I2C_SCL */
			<MX8MM_IOMUXC_I2C1_SDA_GPIO5_IO15		0x146>;	/* PMIC_I2C_SDA */
	};

	/* Verdin I2C_4_CSI */
	pinctrl_i2c2: i2c2grp {
		fsl,pins =
			<MX8MM_IOMUXC_I2C2_SCL_I2C2_SCL			0x40000146>,	/* SODIMM 55 */
			<MX8MM_IOMUXC_I2C2_SDA_I2C2_SDA			0x40000146>;	/* SODIMM 53 */
	};

	pinctrl_i2c2_gpio: i2c2gpiogrp {
		fsl,pins =
			<MX8MM_IOMUXC_I2C2_SCL_GPIO5_IO16		0x146>,	/* SODIMM 55 */
			<MX8MM_IOMUXC_I2C2_SDA_GPIO5_IO17		0x146>;	/* SODIMM 53 */
	};

	/* Verdin I2C_2_DSI */
	pinctrl_i2c3: i2c3grp {
		fsl,pins =
			<MX8MM_IOMUXC_I2C3_SCL_I2C3_SCL			0x40000146>,	/* SODIMM 95 */
			<MX8MM_IOMUXC_I2C3_SDA_I2C3_SDA			0x40000146>;	/* SODIMM 93 */
	};

	pinctrl_i2c3_gpio: i2c3gpiogrp {
		fsl,pins =
			<MX8MM_IOMUXC_I2C3_SCL_GPIO5_IO18		0x146>,	/* SODIMM 95 */
			<MX8MM_IOMUXC_I2C3_SDA_GPIO5_IO19		0x146>;	/* SODIMM 93 */
	};

	/* Verdin I2C_1 */
	pinctrl_i2c4: i2c4grp {
		fsl,pins =
			<MX8MM_IOMUXC_I2C4_SCL_I2C4_SCL			0x40000146>,	/* SODIMM 14 */
			<MX8MM_IOMUXC_I2C4_SDA_I2C4_SDA			0x40000146>;	/* SODIMM 12 */
	};

	pinctrl_i2c4_gpio: i2c4gpiogrp {
		fsl,pins =
			<MX8MM_IOMUXC_I2C4_SCL_GPIO5_IO20		0x146>,	/* SODIMM 14 */
			<MX8MM_IOMUXC_I2C4_SDA_GPIO5_IO21		0x146>;	/* SODIMM 12 */
	};

	/* Verdin I2S_2_BCLK (TOUCH_RESET#) */
	pinctrl_i2s_2_bclk_touch_reset: i2s2bclktouchresetgrp {
		fsl,pins =
			<MX8MM_IOMUXC_SAI5_RXD2_GPIO3_IO23		0x6>;	/* SODIMM 42 */
	};

	/* Verdin I2S_2_D_OUT shared with SAI5 */
	pinctrl_i2s_2_d_out_dsi_1_bkl_en: i2s2doutdsi1bklengrp {
		fsl,pins =
			<MX8MM_IOMUXC_SAI5_RXD3_GPIO3_IO24		0x6>;	/* SODIMM 46 */
	};

	pinctrl_pcie0: pcie0grp {
		fsl,pins =
			<MX8MM_IOMUXC_SAI5_RXFS_GPIO3_IO19		0x6>,	/* SODIMM 244 */
			/* PMIC_EN_PCIe_CLK, unused */
			<MX8MM_IOMUXC_SD2_RESET_B_GPIO2_IO19		0x6>;
	};

	pinctrl_pmic: pmicirqgrp {
		fsl,pins =
			<MX8MM_IOMUXC_GPIO1_IO03_GPIO1_IO3		0x141>;	/* PMIC_INT# */
	};

	/* Verdin PWM_3_DSI shared with GPIO1_IO1 */
	pinctrl_pwm_1: pwm1grp {
		fsl,pins =
			<MX8MM_IOMUXC_GPIO1_IO01_PWM1_OUT		0x6>;	/* SODIMM 19 */
	};

	pinctrl_pwm_2: pwm2grp {
		fsl,pins =
			<MX8MM_IOMUXC_SPDIF_RX_PWM2_OUT			0x6>;	/* SODIMM 15 */
	};

	pinctrl_pwm_3: pwm3grp {
		fsl,pins =
			<MX8MM_IOMUXC_SPDIF_TX_PWM3_OUT			0x6>;	/* SODIMM 16 */
	};

	/* Verdin PWM_3_DSI (pulled-down as active-high) shared with PWM1_OUT */
	pinctrl_pwm_3_dsi_hpd_gpio: pwm3dsihpdgpiogrp {
		fsl,pins =
			<MX8MM_IOMUXC_GPIO1_IO01_GPIO1_IO1		0x106>;	/* SODIMM 19 */
	};

	pinctrl_reg_eth: regethgrp {
		fsl,pins =
			<MX8MM_IOMUXC_SD2_WP_GPIO2_IO20			0x146>;	/* PMIC_EN_ETH */
	};

	pinctrl_reg_usb1_en: regusb1engrp {
		fsl,pins =
			<MX8MM_IOMUXC_GPIO1_IO12_GPIO1_IO12		0x106>;	/* SODIMM 155 */
	};

	pinctrl_reg_usb2_en: regusb2engrp {
		fsl,pins =
			<MX8MM_IOMUXC_GPIO1_IO14_GPIO1_IO14		0x106>;	/* SODIMM 185 */
	};

	pinctrl_sai2: sai2grp {
		fsl,pins =
			<MX8MM_IOMUXC_SAI2_MCLK_SAI2_MCLK		0x6>,	/* SODIMM 38 */
			<MX8MM_IOMUXC_SAI2_TXC_SAI2_TX_BCLK		0x6>,	/* SODIMM 30 */
			<MX8MM_IOMUXC_SAI2_TXFS_SAI2_TX_SYNC		0x6>,	/* SODIMM 32 */
			<MX8MM_IOMUXC_SAI2_RXD0_SAI2_RX_DATA0		0x6>,	/* SODIMM 36 */
			<MX8MM_IOMUXC_SAI2_TXD0_SAI2_TX_DATA0		0x6>;	/* SODIMM 34 */
	};

	pinctrl_sai5: sai5grp {
		fsl,pins =
			<MX8MM_IOMUXC_SAI5_RXD0_SAI5_RX_DATA0		0x6>,	/* SODIMM 48 */
			<MX8MM_IOMUXC_SAI5_RXD1_SAI5_TX_SYNC		0x6>,	/* SODIMM 44 */
			<MX8MM_IOMUXC_SAI5_RXD2_SAI5_TX_BCLK		0x6>,	/* SODIMM 42 */
			<MX8MM_IOMUXC_SAI5_RXD3_SAI5_TX_DATA0		0x6>;	/* SODIMM 46 */
	};

	/* control signal for optional ATTPM20P or SE050 */
	pinctrl_tpm_spi_cs: tpmspicsgrp {
		fsl,pins =
			<MX8MM_IOMUXC_SAI1_TXD7_GPIO4_IO19		0x106>;	/* PMIC_TPM_ENA */
	};

	pinctrl_tsp: tspgrp {
		fsl,pins =
			<MX8MM_IOMUXC_SAI1_RXD4_GPIO4_IO6		0x6>,	/* SODIMM 148 */
			<MX8MM_IOMUXC_SAI1_RXD5_GPIO4_IO7		0x6>,	/* SODIMM 152 */
			<MX8MM_IOMUXC_SAI1_RXD6_GPIO4_IO8		0x6>,	/* SODIMM 154 */
			<MX8MM_IOMUXC_SAI1_RXD7_GPIO4_IO9		0x146>,	/* SODIMM 174 */
			<MX8MM_IOMUXC_SAI1_TXD5_GPIO4_IO17		0x6>;	/* SODIMM 150 */
	};

	pinctrl_uart1: uart1grp {
		fsl,pins =
			<MX8MM_IOMUXC_SAI2_RXC_UART1_DCE_RX		0x146>,	/* SODIMM 147 */
			<MX8MM_IOMUXC_SAI2_RXFS_UART1_DCE_TX		0x146>;	/* SODIMM 149 */
	};

	pinctrl_uart2: uart2grp {
		fsl,pins =
			<MX8MM_IOMUXC_SAI3_RXC_UART2_DCE_CTS_B		0x146>,	/* SODIMM 133 */
			<MX8MM_IOMUXC_SAI3_RXD_UART2_DCE_RTS_B		0x146>,	/* SODIMM 135 */
			<MX8MM_IOMUXC_SAI3_TXC_UART2_DCE_TX		0x146>,	/* SODIMM 131 */
			<MX8MM_IOMUXC_SAI3_TXFS_UART2_DCE_RX		0x146>;	/* SODIMM 129 */
	};

	pinctrl_uart3: uart3grp {
		fsl,pins =
			<MX8MM_IOMUXC_ECSPI1_MISO_UART3_DCE_CTS_B	0x146>,	/* SODIMM 141 */
			<MX8MM_IOMUXC_ECSPI1_MOSI_UART3_DCE_TX		0x146>,	/* SODIMM 139 */
			<MX8MM_IOMUXC_ECSPI1_SCLK_UART3_DCE_RX		0x146>,	/* SODIMM 137 */
			<MX8MM_IOMUXC_ECSPI1_SS0_UART3_DCE_RTS_B	0x146>;	/* SODIMM 143 */
	};

	pinctrl_uart4: uart4grp {
		fsl,pins =
			<MX8MM_IOMUXC_UART4_RXD_UART4_DCE_RX		0x146>,	/* SODIMM 151 */
			<MX8MM_IOMUXC_UART4_TXD_UART4_DCE_TX		0x146>;	/* SODIMM 153 */
	};

	pinctrl_usdhc1: usdhc1grp {
		fsl,pins =
			<MX8MM_IOMUXC_SD1_CLK_USDHC1_CLK		0x190>,
			<MX8MM_IOMUXC_SD1_CMD_USDHC1_CMD		0x1d0>,
			<MX8MM_IOMUXC_SD1_DATA0_USDHC1_DATA0		0x1d0>,
			<MX8MM_IOMUXC_SD1_DATA1_USDHC1_DATA1		0x1d0>,
			<MX8MM_IOMUXC_SD1_DATA2_USDHC1_DATA2		0x1d0>,
			<MX8MM_IOMUXC_SD1_DATA3_USDHC1_DATA3		0x1d0>,
			<MX8MM_IOMUXC_SD1_DATA4_USDHC1_DATA4		0x1d0>,
			<MX8MM_IOMUXC_SD1_DATA5_USDHC1_DATA5		0x1d0>,
			<MX8MM_IOMUXC_SD1_DATA6_USDHC1_DATA6		0x1d0>,
			<MX8MM_IOMUXC_SD1_DATA7_USDHC1_DATA7		0x1d0>,
			<MX8MM_IOMUXC_SD1_RESET_B_USDHC1_RESET_B	0x1d1>,
			<MX8MM_IOMUXC_SD1_STROBE_USDHC1_STROBE		0x190>;
	};

	pinctrl_usdhc1_100mhz: usdhc1-100mhzgrp {
		fsl,pins =
			<MX8MM_IOMUXC_SD1_CLK_USDHC1_CLK		0x194>,
			<MX8MM_IOMUXC_SD1_CMD_USDHC1_CMD		0x1d4>,
			<MX8MM_IOMUXC_SD1_DATA0_USDHC1_DATA0		0x1d4>,
			<MX8MM_IOMUXC_SD1_DATA1_USDHC1_DATA1		0x1d4>,
			<MX8MM_IOMUXC_SD1_DATA2_USDHC1_DATA2		0x1d4>,
			<MX8MM_IOMUXC_SD1_DATA3_USDHC1_DATA3		0x1d4>,
			<MX8MM_IOMUXC_SD1_DATA4_USDHC1_DATA4		0x1d4>,
			<MX8MM_IOMUXC_SD1_DATA5_USDHC1_DATA5		0x1d4>,
			<MX8MM_IOMUXC_SD1_DATA6_USDHC1_DATA6		0x1d4>,
			<MX8MM_IOMUXC_SD1_DATA7_USDHC1_DATA7		0x1d4>,
			<MX8MM_IOMUXC_SD1_RESET_B_USDHC1_RESET_B	0x1d1>,
			<MX8MM_IOMUXC_SD1_STROBE_USDHC1_STROBE		0x194>;
	};

	pinctrl_usdhc1_200mhz: usdhc1-200mhzgrp {
		fsl,pins =
			<MX8MM_IOMUXC_SD1_CLK_USDHC1_CLK		0x196>,
			<MX8MM_IOMUXC_SD1_CMD_USDHC1_CMD		0x1d6>,
			<MX8MM_IOMUXC_SD1_DATA0_USDHC1_DATA0		0x1d6>,
			<MX8MM_IOMUXC_SD1_DATA1_USDHC1_DATA1		0x1d6>,
			<MX8MM_IOMUXC_SD1_DATA2_USDHC1_DATA2		0x1d6>,
			<MX8MM_IOMUXC_SD1_DATA3_USDHC1_DATA3		0x1d6>,
			<MX8MM_IOMUXC_SD1_DATA4_USDHC1_DATA4		0x1d6>,
			<MX8MM_IOMUXC_SD1_DATA5_USDHC1_DATA5		0x1d6>,
			<MX8MM_IOMUXC_SD1_DATA6_USDHC1_DATA6		0x1d6>,
			<MX8MM_IOMUXC_SD1_DATA7_USDHC1_DATA7		0x1d6>,
			<MX8MM_IOMUXC_SD1_RESET_B_USDHC1_RESET_B	0x1d1>,
			<MX8MM_IOMUXC_SD1_STROBE_USDHC1_STROBE		0x196>;
	};

	pinctrl_usdhc2_cd: usdhc2cdgrp {
		fsl,pins =
			<MX8MM_IOMUXC_SD2_CD_B_GPIO2_IO12		0x6>;	/* SODIMM 84 */
	};

	pinctrl_usdhc2_cd_sleep: usdhc2cdslpgrp {
		fsl,pins =
			<MX8MM_IOMUXC_SD2_CD_B_GPIO2_IO12		0x0>;	/* SODIMM 84 */
	};

	pinctrl_usdhc2_pwr_en: usdhc2pwrengrp {
		fsl,pins =
			<MX8MM_IOMUXC_NAND_CLE_GPIO3_IO5		0x6>;	/* SODIMM 76 */
	};

	/*
	 * Note: Due to ERR050080 we use discrete external on-module resistors pulling-up to the
	 * on-module +V3.3_1.8_SD (LDO5) rail and explicitly disable the internal pull-ups here.
	 */
	pinctrl_usdhc2: usdhc2grp {
		fsl,pins =
			<MX8MM_IOMUXC_GPIO1_IO04_USDHC2_VSELECT		0x10>,
			<MX8MM_IOMUXC_SD2_CLK_USDHC2_CLK		0x90>,	/* SODIMM 78 */
			<MX8MM_IOMUXC_SD2_CMD_USDHC2_CMD		0x90>,	/* SODIMM 74 */
			<MX8MM_IOMUXC_SD2_DATA0_USDHC2_DATA0		0x90>,	/* SODIMM 80 */
			<MX8MM_IOMUXC_SD2_DATA1_USDHC2_DATA1		0x90>,	/* SODIMM 82 */
			<MX8MM_IOMUXC_SD2_DATA2_USDHC2_DATA2		0x90>,	/* SODIMM 70 */
			<MX8MM_IOMUXC_SD2_DATA3_USDHC2_DATA3		0x90>;	/* SODIMM 72 */
	};

	pinctrl_usdhc2_100mhz: usdhc2-100mhzgrp {
		fsl,pins =
			<MX8MM_IOMUXC_GPIO1_IO04_USDHC2_VSELECT		0x10>,
			<MX8MM_IOMUXC_SD2_CLK_USDHC2_CLK		0x94>,
			<MX8MM_IOMUXC_SD2_CMD_USDHC2_CMD		0x94>,
			<MX8MM_IOMUXC_SD2_DATA0_USDHC2_DATA0		0x94>,
			<MX8MM_IOMUXC_SD2_DATA1_USDHC2_DATA1		0x94>,
			<MX8MM_IOMUXC_SD2_DATA2_USDHC2_DATA2		0x94>,
			<MX8MM_IOMUXC_SD2_DATA3_USDHC2_DATA3		0x94>;
	};

	pinctrl_usdhc2_200mhz: usdhc2-200mhzgrp {
		fsl,pins =
			<MX8MM_IOMUXC_GPIO1_IO04_USDHC2_VSELECT		0x10>,
			<MX8MM_IOMUXC_SD2_CLK_USDHC2_CLK		0x96>,
			<MX8MM_IOMUXC_SD2_CMD_USDHC2_CMD		0x96>,
			<MX8MM_IOMUXC_SD2_DATA0_USDHC2_DATA0		0x96>,
			<MX8MM_IOMUXC_SD2_DATA1_USDHC2_DATA1		0x96>,
			<MX8MM_IOMUXC_SD2_DATA2_USDHC2_DATA2		0x96>,
			<MX8MM_IOMUXC_SD2_DATA3_USDHC2_DATA3		0x96>;
	};

	/* Avoid backfeeding with removed card power */
	pinctrl_usdhc2_sleep: usdhc2slpgrp {
		fsl,pins =
			<MX8MM_IOMUXC_GPIO1_IO04_USDHC2_VSELECT		0x0>,
			<MX8MM_IOMUXC_SD2_CLK_USDHC2_CLK		0x0>,
			<MX8MM_IOMUXC_SD2_CMD_USDHC2_CMD		0x0>,
			<MX8MM_IOMUXC_SD2_DATA0_USDHC2_DATA0		0x0>,
			<MX8MM_IOMUXC_SD2_DATA1_USDHC2_DATA1		0x0>,
			<MX8MM_IOMUXC_SD2_DATA2_USDHC2_DATA2		0x0>,
			<MX8MM_IOMUXC_SD2_DATA3_USDHC2_DATA3		0x0>;
	};

	/*
	 * On-module Wi-Fi/BT or type specific SDHC interface
	 * (e.g. on X52 extension slot of Verdin Development Board)
	 */
	pinctrl_usdhc3: usdhc3grp {
		fsl,pins =
			<MX8MM_IOMUXC_NAND_DATA04_USDHC3_DATA0		0x150>,
			<MX8MM_IOMUXC_NAND_DATA05_USDHC3_DATA1		0x150>,
			<MX8MM_IOMUXC_NAND_DATA06_USDHC3_DATA2		0x150>,
			<MX8MM_IOMUXC_NAND_DATA07_USDHC3_DATA3		0x150>,
			<MX8MM_IOMUXC_NAND_WE_B_USDHC3_CLK		0x150>,
			<MX8MM_IOMUXC_NAND_WP_B_USDHC3_CMD		0x150>;
	};

	pinctrl_usdhc3_100mhz: usdhc3-100mhzgrp {
		fsl,pins =
			<MX8MM_IOMUXC_NAND_DATA04_USDHC3_DATA0		0x154>,
			<MX8MM_IOMUXC_NAND_DATA05_USDHC3_DATA1		0x154>,
			<MX8MM_IOMUXC_NAND_DATA06_USDHC3_DATA2		0x154>,
			<MX8MM_IOMUXC_NAND_DATA07_USDHC3_DATA3		0x154>,
			<MX8MM_IOMUXC_NAND_WE_B_USDHC3_CLK		0x154>,
			<MX8MM_IOMUXC_NAND_WP_B_USDHC3_CMD		0x154>;
	};

	pinctrl_usdhc3_200mhz: usdhc3-200mhzgrp {
		fsl,pins =
			<MX8MM_IOMUXC_NAND_DATA04_USDHC3_DATA0		0x156>,
			<MX8MM_IOMUXC_NAND_DATA05_USDHC3_DATA1		0x156>,
			<MX8MM_IOMUXC_NAND_DATA06_USDHC3_DATA2		0x156>,
			<MX8MM_IOMUXC_NAND_DATA07_USDHC3_DATA3		0x156>,
			<MX8MM_IOMUXC_NAND_WE_B_USDHC3_CLK		0x156>,
			<MX8MM_IOMUXC_NAND_WP_B_USDHC3_CMD		0x156>;
	};

	pinctrl_wdog: wdoggrp {
		fsl,pins =
			<MX8MM_IOMUXC_GPIO1_IO02_WDOG1_WDOG_B		0x166>;	/* PMIC_WDI */
	};

	pinctrl_wifi_ctrl: wifictrlgrp {
		fsl,pins =
			<MX8MM_IOMUXC_NAND_READY_B_GPIO3_IO16		0x46>,	/* WIFI_WKUP_BT */
			<MX8MM_IOMUXC_SAI1_RXD7_GPIO4_IO9		0x146>,	/* WIFI_W_WKUP_HOST */
			<MX8MM_IOMUXC_SAI5_RXC_GPIO3_IO20		0x46>;	/* WIFI_WKUP_WLAN */
	};

	pinctrl_wifi_i2s: bti2sgrp {
		fsl,pins =
			<MX8MM_IOMUXC_SAI1_RXD4_SAI6_TX_BCLK		0x6>,	/* WIFI_TX_BCLK */
			<MX8MM_IOMUXC_SAI1_RXD5_SAI6_TX_DATA0		0x6>,	/* WIFI_TX_DATA0 */
			<MX8MM_IOMUXC_SAI1_RXD6_SAI6_TX_SYNC		0x6>,	/* WIFI_TX_SYNC */
			<MX8MM_IOMUXC_SAI1_TXD5_SAI6_RX_DATA0		0x6>;	/* WIFI_RX_DATA0 */
	};

	pinctrl_wifi_pwr_en: wifipwrengrp {
		fsl,pins =
			<MX8MM_IOMUXC_SAI5_MCLK_GPIO3_IO25		0x6>;	/* PMIC_EN_WIFI */
	};
};
